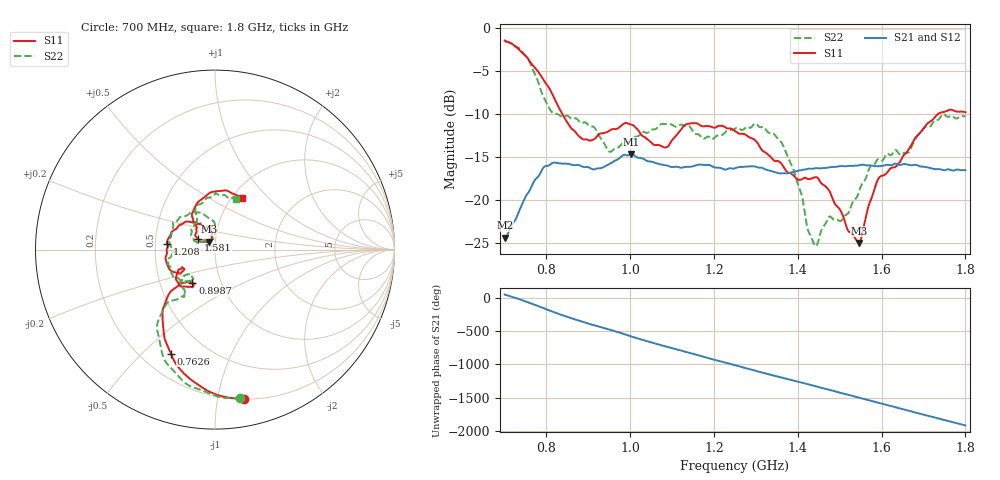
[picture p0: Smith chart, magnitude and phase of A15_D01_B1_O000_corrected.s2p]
! Created with skrf 1.9.0 (http://scikit-rf.org).
# Hz S RI R 50.0
!freq ReS11 ImS11 ReS21 ImS21 ReS12 ImS12 ReS22 ImS22
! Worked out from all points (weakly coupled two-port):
!   1601 points, 700 MHz to 1.8 GHz, reference 50 ohm
!   highest |S21| = -14.71 dB at 1.002 GHz (marker M1); lowest = -24.4 dB at 700.7 MHz (marker M2)
!   lowest |S11| = -25.1 dB at 1.546 GHz (marker M3), VSWR 1.12, Z = 46.5 + j4.07 ohm
!   |S11| at or under -10 dB: 838 MHz to 1.734 GHz (896.3 MHz wide, 69.7 % of centre)
!   |S22| runs from -25.4 to -1.5 dB; largest |S21 - S12| = 0.0037
!   S11 on the Smith chart (normalised r, x): 700 MHz: 0.20, -1.19; 762.6 MHz: 0.32, -0.61; 898.7 MHz: 0.73, -0.28; 1.208 GHz: 0.58, +0.04; 1.581 GHz: 0.82, +0.09; 1.8 GHz: 1.11, +0.71
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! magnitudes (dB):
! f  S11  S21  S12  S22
! 700 MHz  -1.4  -24.4  -24.2  -1.5
! 700.7 MHz  -1.4  -24.4  -24.1  -1.5
! 762.6 MHz  -4.0  -18.6  -18.6  -4.3
! 812.1 MHz  -7.5  -15.8  -15.7  -9.7
! 883.6 MHz  -12.8  -16.1  -16.0  -11.1
! 898.7 MHz  -13.0  -16.2  -16.2  -11.2
! 950.9 MHz  -11.9  -15.8  -15.8  -14.4
! 1.002 GHz  -11.2  -14.7  -14.8  -13.0
! 1.067 GHz  -13.6  -15.8  -15.7  -11.4
! 1.137 GHz  -11.1  -16.1  -16.1  -11.4
! 1.208 GHz  -11.4  -16.2  -16.3  -12.5
! 1.25 GHz  -12.0  -16.3  -16.3  -11.7
! 1.359 GHz  -15.7  -16.9  -16.9  -13.2
! 1.393 GHz  -17.3  -16.7  -16.7  -17.0
! 1.434 GHz  -17.5  -16.4  -16.4  -24.5
! 1.506 GHz  -21.6  -16.1  -16.1  -22.3
! 1.546 GHz  -25.1  -16.0  -16.0  -19.0
! 1.581 GHz  -19.1  -16.0  -16.1  -15.9
! 1.617 GHz  -16.6  -15.9  -15.9  -14.7
! 1.663 GHz  -14.2  -15.9  -15.9  -14.5
! 1.735 GHz  -10.0  -16.4  -16.5  -10.7
! 1.8 GHz  -9.8  -16.5  -16.5  -10.3
